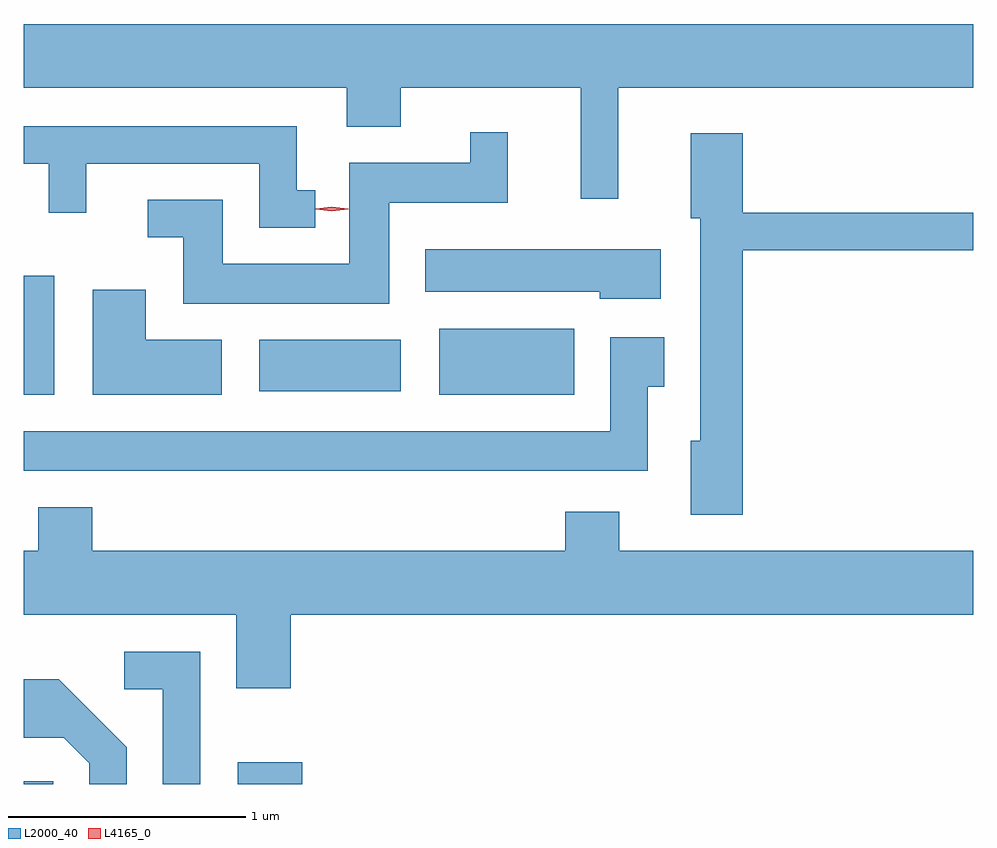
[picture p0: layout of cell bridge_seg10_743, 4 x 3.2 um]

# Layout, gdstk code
import gdstk
lib = gdstk.Library(unit=1e-6, precision=1e-09)
def R(c, l, rs):  # rectangles x0, y0, x1, y1
    for r in rs: c.add(gdstk.rectangle(r[:2], r[2:], *l))
def P(c, l, *ps):  # polygons
    for p in ps: c.add(gdstk.Polygon(p, *l))
L2000_40 = (2000, 40)
L4165_0 = (4165, 0)

bridge_seg10_743 = lib.new_cell('bridge_seg10_743')
R(bridge_seg10_743, L2000_40, [(589.87,2155.382,589.994,2155.393), (590.771,2155.382,591.044,2155.474), (589.87,2157.021,589.999,2157.524), (591.621,2157.021,592.189,2157.299), (590.861,2157.036,591.459,2157.254)])
P(bridge_seg10_743, L2000_40, [(592.374,2158.316),(593.87,2158.316),(593.87,2158.584),(589.87,2158.584),(589.87,2158.316),(591.231,2158.316),(591.231,2158.151),(591.459,2158.151),(591.459,2158.316),(592.216,2158.316),(592.216,2157.848),(592.374,2157.848)],
  [(591.098,2157.884),(591.019,2157.884),(591.019,2158.154),(589.87,2158.154),(589.87,2157.996),(589.976,2157.996),(589.976,2157.788),(590.134,2157.788),(590.134,2157.996),(590.861,2157.996),(590.861,2157.726),(591.098,2157.726)],
  [(591.409,2157.831),(591.909,2157.831),(591.909,2158.128),(591.751,2158.128),(591.751,2157.999),(591.241,2157.999),(591.241,2157.574),(590.709,2157.574),(590.709,2157.844),(590.393,2157.844),(590.393,2157.686),(590.541,2157.686),(590.541,2157.406),(591.409,2157.406)],
  [(592.899,2157.631),(593.87,2157.631),(593.87,2157.789),(592.899,2157.789),(592.899,2158.124),(592.681,2158.124),(592.681,2157.766),(592.721,2157.766),(592.721,2156.829),(592.681,2156.829),(592.681,2156.516),(592.899,2156.516)],
  [(592.554,2157.634),(591.561,2157.634),(591.561,2157.456),(592.296,2157.456),(592.296,2157.426),(592.554,2157.426)],
  [(590.704,2157.254),(590.384,2157.254),(590.384,2157.464),(590.161,2157.464),(590.161,2157.021),(590.704,2157.021)],
  [(592.499,2157.056),(592.569,2157.056),(592.569,2157.264),(592.341,2157.264),(592.341,2156.869),(589.87,2156.869),(589.87,2156.701),(592.499,2156.701)],
  [(590.994,2156.096),(593.87,2156.096),(593.87,2156.364),(592.379,2156.364),(592.379,2156.529),(592.151,2156.529),(592.151,2156.364),(590.159,2156.364),(590.159,2156.549),(589.931,2156.549),(589.931,2156.364),(589.87,2156.364),(589.87,2156.096),(590.766,2156.096),(590.766,2155.786),(590.994,2155.786)],
  [(590.614,2155.939),(590.293,2155.939),(590.293,2155.781),(590.456,2155.781),(590.456,2155.382),(590.614,2155.382)],
  [(590.304,2155.537),(590.017,2155.824),(589.87,2155.824),(589.87,2155.576),(590.039,2155.576),(590.146,2155.469),(590.146,2155.382),(590.304,2155.382)])
P(bridge_seg10_743, L4165_0, [(591.168,2157.795),(591.099,2157.804),(591.099,2157.805),(591.099,2157.805),(591.168,2157.814),(591.238,2157.805),(591.238,2157.804),(591.238,2157.804)])

lib.write_gds('bridge_seg10_743.gds')
